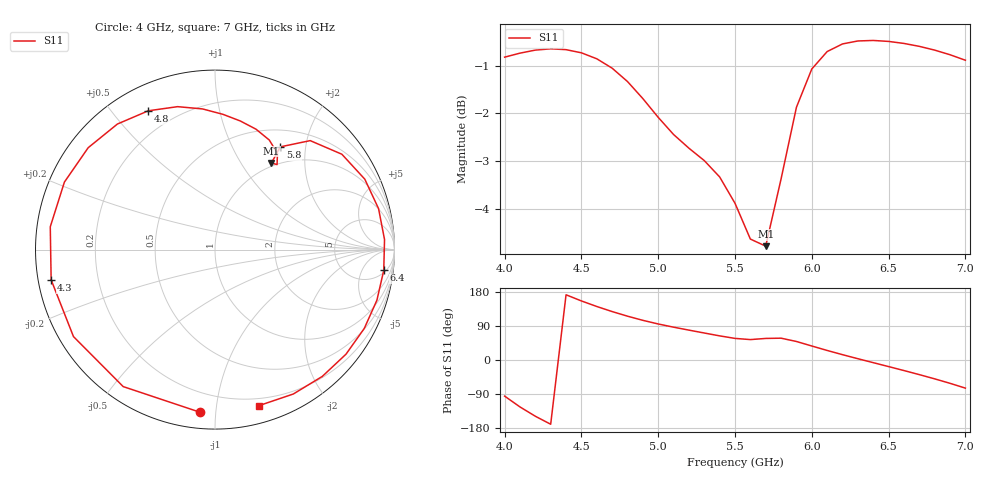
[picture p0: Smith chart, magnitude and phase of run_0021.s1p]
! Touchstone file exported from HFSS 2024.2.0
!  File:  C:/Users/wsak9/Desktop/Sim Fast/Widenad Patch/WP_AI_V1_sweep.aedt
!  Generated:  03:36:44 PM Oct 13, 2026
!  Design:  A1_model
!  Project:  WP_AI_V1_sweep
!  Setup:  Setup1
!  Solution:  Sweep
! Variables:
!  Air_gap = 4.1mm
!  Curve_Amp1 = 1.46
!  Curve_len1 = 1
!  Curve_pos = 10.98mm
!  Extra = 7.24mm
!  H_sub = 0.79mm
!  L_Patch = 17.96mm
!  L_Patch1 = 16.98mm
!  Sx = 0.84mm
!  Sy = 4.71mm
!  WS = 0.25mm
!  W_Patch = 10.65mm
!  W_Patch1 = 9.74mm
!Data is not renormalized
# GHz S MA
! Terminal data exported
! Port[1] = 1
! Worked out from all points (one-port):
!   31 points, 4 GHz to 7 GHz, reference per port
!   lowest |S11| = -4.8 dB at 5.7 GHz (marker M1), VSWR 3.72
!   |S11| at or under -10 dB: nowhere
!   S11 on the Smith chart (normalised r, x): 4 GHz: 0.09, -0.91; 4.3 GHz: 0.04, -0.09; 4.8 GHz: 0.11, +0.62; 5.8 GHz: 0.74, +1.56; 6.4 GHz: 6, -14; 7 GHz: 0.14, -1.31
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4  0.9099 -95.3
4.1  0.9187 -123.8
4.2  0.9255 -148.4
4.3  0.9284 -169.5
4.4  0.9265 172.1
4.5  0.9195 155.9
4.6  0.9063 141.2
4.7  0.886 127.8
4.8  0.8579 115.6
4.9  0.8233 104.7
5  0.7868 95.1
5.2  0.7303 78.9
5.4  0.6814 63.7
5.5  0.6394 57.0
5.6  0.5865 53.9
5.7  0.5765 56.9
5.8  0.6781 57.6
5.9  0.8062 48.9
6  0.8843 36.9
6.1  0.9223 25.2
6.2  0.9394 14.1
6.3  0.9462 3.4
6.4  0.9473 -7.0
6.5  0.9451 -17.4
6.6  0.9405 -27.9
6.7  0.934 -38.6
6.9  0.9152 -61.5
7  0.9031 -74.2
